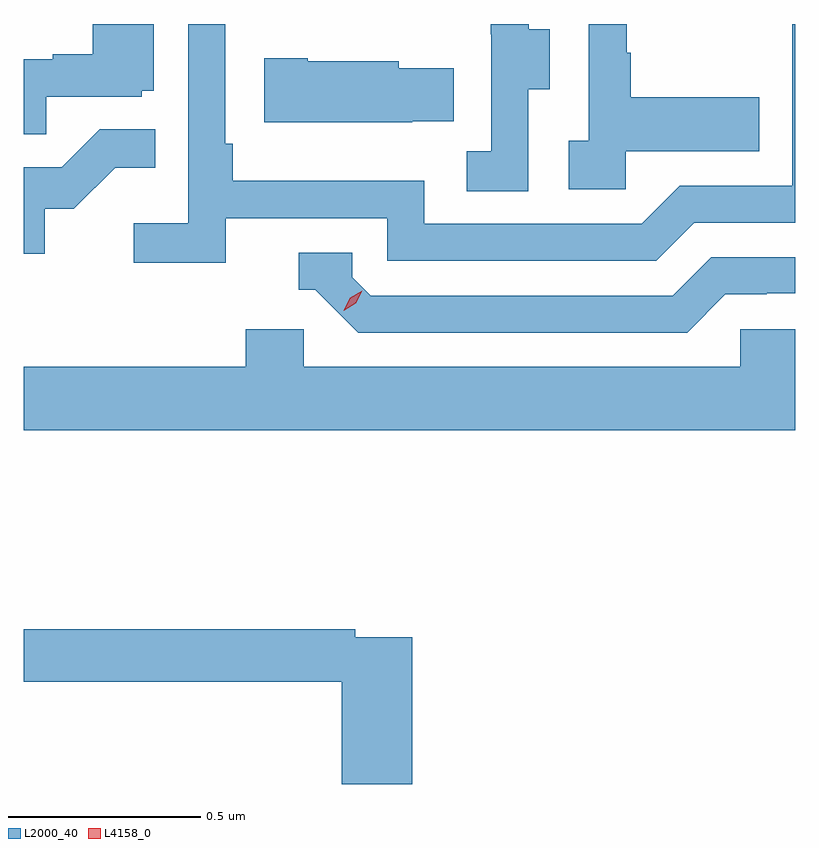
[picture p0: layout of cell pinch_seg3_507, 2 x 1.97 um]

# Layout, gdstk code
import gdstk
lib = gdstk.Library(unit=1e-6, precision=1e-09)
def P(c, l, *ps):  # polygons
    for p in ps: c.add(gdstk.Polygon(p, *l))
L2000_40 = (2000, 40)
L4158_0 = (4158, 0)

pinch_seg3_507 = lib.new_cell('pinch_seg3_507')
P(pinch_seg3_507, L2000_40, [(1000.122,685.655),(1000.469,685.655),(1000.469,685.795),(1000.135,685.795),(1000.135,685.91),(1000.125,685.91),(1000.125,685.985),(1000.026,685.985),(1000.026,685.682),(999.975,685.682),(999.975,685.557),(1000.122,685.557)],
  [(999.086,685.482),(999.504,685.482),(999.504,685.371),(1000.201,685.371),(1000.3,685.47),(1000.562,685.47),(1000.562,685.985),(1000.554,685.985),(1000.554,685.566),(1000.263,685.566),(1000.164,685.467),(999.6,685.467),(999.6,685.579),(999.104,685.579),(999.104,685.675),(999.084,685.675),(999.084,685.985),(998.988,685.985),(998.988,685.468),(998.847,685.468),(998.847,685.366),(999.086,685.366)],
  [(998.621,685.797),(998.868,685.797),(998.868,685.812),(998.899,685.812),(998.899,685.985),(998.741,685.985),(998.741,685.906),(998.637,685.906),(998.637,685.893),(998.562,685.893),(998.562,685.699),(998.621,685.699)],
  [(999.87,685.816),(999.925,685.816),(999.925,685.971),(999.871,685.971),(999.871,685.985),(999.773,685.985),(999.773,685.959),(999.774,685.959),(999.774,685.655),(999.711,685.655),(999.711,685.552),(999.87,685.552)],
  [(999.569,685.733),(999.677,685.733),(999.677,685.87),(999.534,685.87),(999.534,685.888),(999.298,685.888),(999.298,685.896),(999.186,685.896),(999.186,685.73),(999.569,685.73)],
  [(998.616,685.506),(998.692,685.506),(998.799,685.613),(998.903,685.613),(998.903,685.712),(998.759,685.712),(998.661,685.614),(998.562,685.614),(998.562,685.389),(998.616,685.389)],
  [(1000.381,685.284),(1000.488,685.284),(1000.488,685.287),(1000.562,685.287),(1000.562,685.38),(1000.344,685.38),(1000.245,685.281),(999.462,685.281),(999.414,685.329),(999.414,685.392),(999.275,685.392),(999.275,685.296),(999.318,685.296),(999.429,685.185),(1000.282,685.185)],
  [(1000.562,685.194),(1000.419,685.194),(1000.419,685.096),(999.288,685.096),(999.288,685.194),(999.137,685.194),(999.137,685.096),(998.562,685.096),(998.562,684.932),(1000.562,684.932)],
  [(999.569,684.396),(999.422,684.396),(999.422,684.416),(998.562,684.416),(998.562,684.28),(999.386,684.28),(999.386,684.015),(999.569,684.015)])
P(pinch_seg3_507, L4158_0, [(999.392,685.242),(999.392,685.243),(999.408,685.275),(999.439,685.294),(999.439,685.294),(999.439,685.294),(999.423,685.261),(999.392,685.242)])

lib.write_gds('pinch_seg3_507.gds')
